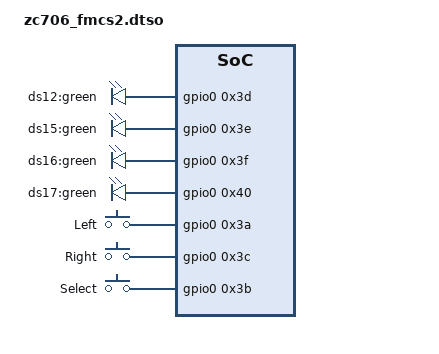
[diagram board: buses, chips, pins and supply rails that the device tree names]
/dts-v1/;
/plugin/;

/{
    fragment@0{
        target-path = "/";
        __overlay__{
            leds {
                compatible = "gpio-leds";

                ds8 {
                    label = "ds12:green";
                    gpios = <&gpio0 0x3d 0x0>;
                    //gpios = <0x6 7 0x0>;//according to zc706 board, do not know why real gpio_bd[7] here becomes 0x3d
                    default-state = "off";
                };

                ds9 {
                    label = "ds15:green";
                    gpios = <&gpio0 0x3e 0x0>;
                    //gpios = <0x6 8 0x0>;//according to zc706 board, do not know why real gpio_bd[7] here becomes 0x3e
                    default-state = "off";
                };

                ds10 {
                    label = "ds16:green";
                    gpios = <&gpio0 0x3f 0x0>;
                    //gpios = <0x6 9 0x0>;//according to zc706 board, do not know why real gpio_bd[7] here becomes 0x3f
                    default-state = "off";
                };

                ds35 {
                    label = "ds17:green";
                    gpios = <&gpio0 0x40 0x0>;
                    //gpios = <0x6 10 0x0>;//according to zc706 board, do not know why real gpio_bd[7] here becomes 0x40
                    default-state = "on";
                };
            };

            gpio_keys {
                compatible = "gpio-keys";
                #address-cells = <0x1>;
                #size-cells = <0x0>;
                autorepeat;

                sw7 {
                    label = "Left";
                    linux,code = <0x69>;
                    gpios = <&gpio0 0x3a 0x0>;
                };

                sw8 {
                    label = "Right";
                    linux,code = <0x6a>;
                    gpios = <&gpio0 0x3c 0x0>;
                };

                sw9 {
                    label = "Select";
                    linux,code = <0x1c>;
                    gpios = <&gpio0 0x3b 0x0>;
                };
            };
        };
    };
};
